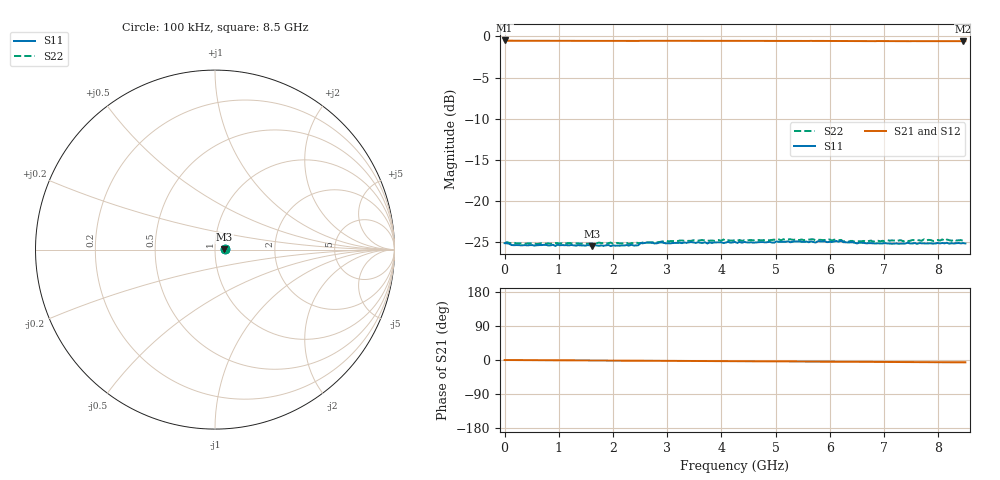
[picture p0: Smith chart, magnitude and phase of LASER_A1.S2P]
!Keysight Technologies,E5071C,MY46733702,B.14.02
!Date: Sat Jan 27 12:14:28 2024
!Data & Calibration Information:
!Freq	S33:SOLT2(ON)	S43:SOLT2(ON)	S34:SOLT2(ON)	S44:SOLT2(ON)
!PortZ  Port3:50+j0  Port4:50+j0
!Above PortZ is port z conversion or system Z0 setting when saving the data.
!When reading, reference impedance value at option line is always used.
# Hz S dB R 50
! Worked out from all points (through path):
!   201 points, 100 kHz to 8.5 GHz, reference 50 ohm
!   highest |S21| = -0.48 dB at 100 kHz (marker M1); lowest = -0.6 dB at 8.458 GHz (marker M2)
!   lowest |S11| = -25.5 dB at 1.615 GHz (marker M3), VSWR 1.11, Z = 55.6 + j0.12 ohm
!   |S11| at or under -10 dB: start of sweep to end of sweep
!   |S22| runs from -25.3 to -24.7 dB; largest |S21 - S12| = 0.0024
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100000  -25.18 2.5  -0.48 -0.2  -0.49 -0.2  -25.21 3.4
1.70098e8  -25.43 0.7  -0.52 -0.2  -0.51 -0.2  -25.12 -0.7
1.445083e9  -25.46 1.1  -0.53 -1.1  -0.52 -1.1  -25.21 1.6
1.615081e9  -25.55 1.2  -0.53 -1.3  -0.52 -1.2  -25.22 1.1
2.465071e9  -25.44 2.1  -0.54 -1.9  -0.53 -1.9  -25.18 2.7
2.50757e9  -25.18 2.5  -0.53 -1.9  -0.52 -1.9  -25.18 2.3
2.847566e9  -25.12 2.9  -0.53 -2.1  -0.52 -2.1  -25.04 3.2
3.697556e9  -25.05 2.9  -0.53 -2.7  -0.52 -2.7  -24.83 3.5
3.740056e9  -25.22 3.7  -0.53 -2.8  -0.52 -2.7  -24.88 4.3
4.25005e9  -25.03 4.1  -0.53 -3.1  -0.52 -3.1  -24.81 3.3
5.695033e9  -25.03 5.3  -0.55 -4.1  -0.52 -4.1  -24.72 4.5
6.205027e9  -24.89 5.8  -0.54 -4.5  -0.54 -4.5  -24.78 4.7
6.332526e9  -25.10 5.1  -0.56 -4.6  -0.55 -4.7  -25.03 4.9
7.097516e9  -25.22 5.0  -0.56 -5.2  -0.55 -5.2  -24.88 5.6
7.69251e9  -25.20 4.5  -0.57 -5.6  -0.55 -5.6  -24.88 5.2
7.735009e9  -25.20 4.9  -0.57 -5.7  -0.55 -5.6  -24.71 5.9
7.905007e9  -25.23 5.2  -0.57 -5.8  -0.56 -5.8  -24.91 5.4
8.075005e9  -25.15 5.1  -0.57 -5.9  -0.55 -5.9  -24.72 5.6
8.117504e9  -25.19 5.4  -0.58 -6.0  -0.56 -5.9  -24.92 5.8
8.287502e9  -25.22 4.5  -0.57 -6.1  -0.56 -6.0  -24.72 5.3
8.4575e9  -25.17 5.4  -0.58 -6.2  -0.56 -6.2  -24.87 6.1
8.5e9  -25.21 4.2  -0.57 -6.2  -0.56 -6.2  -24.77 5.5
